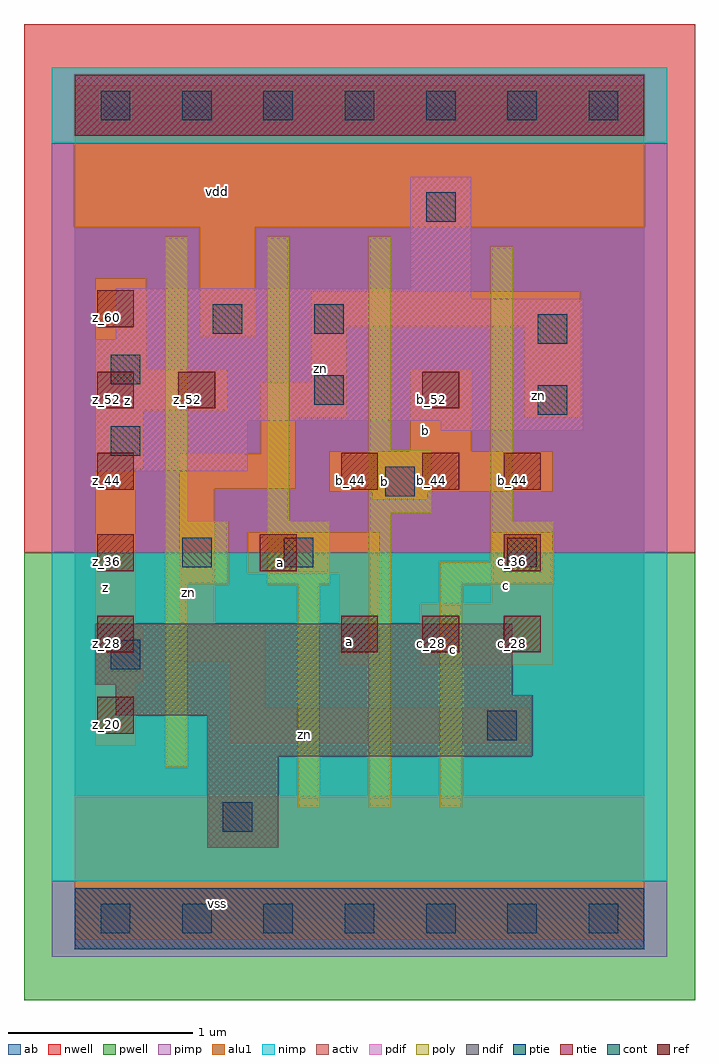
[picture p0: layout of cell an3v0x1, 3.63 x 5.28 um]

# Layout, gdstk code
import gdstk
lib = gdstk.Library(unit=1e-6, precision=2.5e-09)
def R(c, l, rs):  # rectangles x0, y0, x1, y1
    for r in rs: c.add(gdstk.rectangle(r[:2], r[2:], *l))
def A(c, l, x, y, w, h, nx, ny, dx, dy):  # array of equal rectangles
    R(c, l, [(x+i*dx, y+j*dy, x+i*dx+w, y+j*dy+h) for i in range(nx) for j in range(ny)])
ndif = (3, 0)
pdif = (4, 0)
ntie = (5, 0)
ptie = (6, 0)
ref = (24, 0)
cont = (25, 0)
pwell = (41, 0)
nwell = (42, 0)
activ = (43, 0)
pimp = (44, 0)
nimp = (45, 0)
poly = (46, 0)
alu1 = (49, 0)
ab = (63, 0)

an3v0x1 = lib.new_cell('an3v0x1')
R(an3v0x1, ndif, [(0.715,0.385,1.1,0.88), (0.715,0.88,2.475,1.1), (0.22,1.1,2.475,1.21), (0.22,1.21,2.365,1.265), (0.11,1.265,2.365,1.595)])
R(an3v0x1, pdif, [(0.11,2.42,0.935,2.695), (1.98,2.64,2.75,2.695), (0.11,2.695,2.75,3.135), (0.22,3.135,2.75,3.355), (0.22,3.355,2.145,3.41), (1.815,3.41,2.145,4.015)])
R(an3v0x1, ntie, [(0,4.235,3.08,4.565)])
R(an3v0x1, ptie, [(0,-0.165,3.08,0.165)])
A(an3v0x1, ref, 0.12, 1, 0.2, 0.2, 1, 6, 0, 0.44)
A(an3v0x1, ref, 1.44, 1.44, 0.2, 0.2, 3, 2, 0.44, 0.88)
R(an3v0x1, ref, [(1,1.88,1.2,2.08), (2.32,1.88,2.52,2.08), (0.56,2.76,0.76,2.96), (1.88,2.76,2.08,2.96)])
A(an3v0x1, cont, 0.14, -0.08, 0.16, 0.16, 7, 2, 0.44, 4.4)
R(an3v0x1, cont, [(0.8,0.47,0.96,0.63), (2.23,0.965,2.39,1.125), (0.195,1.35,0.355,1.51), (0.58,1.9,0.74,2.06), (1.13,1.9,1.29,2.06), (2.34,1.9,2.5,2.06), (1.68,2.285,1.84,2.445), (0.195,2.505,0.355,2.665), (2.505,2.725,2.665,2.885), (1.295,2.78,1.455,2.94), (0.195,2.89,0.355,3.05), (2.505,3.11,2.665,3.27), (0.745,3.165,0.905,3.325), (1.295,3.165,1.455,3.325), (1.9,3.77,2.06,3.93)])
R(an3v0x1, pwell, [(-0.275,-0.44,3.355,1.98)])
R(an3v0x1, nwell, [(-0.275,1.98,3.355,4.84)])
R(an3v0x1, activ, [(0,-0.165,3.08,0.165), (0.715,0.385,1.1,0.88), (0.715,0.88,2.475,1.1), (0.22,1.1,2.475,1.21), (0.22,1.21,2.365,1.265), (0.11,1.265,2.365,1.595), (0.11,2.42,0.935,2.695), (1.98,2.64,2.75,2.695), (0.11,2.695,2.75,3.135), (0.22,3.135,2.75,3.355), (0.22,3.355,2.145,3.41), (1.815,3.41,2.145,4.015), (0,4.235,3.08,4.565)])
R(an3v0x1, pimp, [(-0.125,-0.205,3.205,0.205), (-0.125,1.98,3.205,4.195)])
R(an3v0x1, nimp, [(-0.125,0.205,3.205,1.98), (-0.125,4.195,3.205,4.605)])
R(an3v0x1, poly, [(1.205,0.6,1.325,1.81), (1.59,0.6,1.71,2.195), (1.975,0.6,2.095,1.81), (0.49,0.82,0.61,1.81), (0.49,1.81,0.83,2.15), (1.04,1.81,1.38,2.15), (1.975,1.81,2.59,1.93), (2.25,1.93,2.59,2.15), (0.49,2.15,0.61,3.69), (1.04,2.15,1.16,3.69), (2.25,2.15,2.37,3.635), (1.59,2.195,1.93,2.535), (1.59,2.535,1.71,3.69)])
R(an3v0x1, alu1, [(0,-0.11,3.08,0.66), (0.11,0.935,0.33,1.28), (0.84,0.95,2.46,1.14), (0.84,1.14,1.03,1.39), (0.11,1.28,0.37,1.58), (1.43,1.375,1.65,1.87), (1.87,1.375,2.585,1.705), (0.565,1.39,1.03,1.58), (0.11,1.58,0.33,2.435), (0.565,1.58,0.755,2.325), (2.255,1.705,2.585,2.09), (0.935,1.87,1.65,2.09), (1.61,2.27,1.91,2.31), (1.375,2.31,2.585,2.53), (0.565,2.325,1.195,2.515), (0.11,2.435,0.37,2.75), (1.005,2.515,1.195,2.71), (1.815,2.53,2.145,2.97), (1.005,2.71,1.47,2.9), (2.435,2.71,2.735,3.205), (0.11,2.75,0.825,2.97), (1.28,2.9,1.47,3.205), (0.11,2.97,0.385,3.465), (0.675,3.15,0.975,3.74), (1.28,3.205,2.735,3.395), (0,3.74,3.08,4.51)])
R(an3v0x1, ab, [(0,0,3.08,4.4)])
an3v0x1.add(gdstk.Label('vss', (0.77,0.0825), layer=49, texttype=0))
an3v0x1.add(gdstk.Label('zn', (1.245,0.9975), layer=49, texttype=0))
an3v0x1.add(gdstk.Label('c', (2.0475,1.4575), layer=49, texttype=0))
an3v0x1.add(gdstk.Label('c', (2.3375,1.8), layer=49, texttype=0))
an3v0x1.add(gdstk.Label('a', (1.485,1.4975), layer=49, texttype=0))
an3v0x1.add(gdstk.Label('a', (1.1125,1.925), layer=49, texttype=0))
an3v0x1.add(gdstk.Label('b', (1.6775,2.365), layer=49, texttype=0))
an3v0x1.add(gdstk.Label('zn', (0.6125,1.765), layer=49, texttype=0))
an3v0x1.add(gdstk.Label('z', (0.165,1.7925), layer=49, texttype=0))
an3v0x1.add(gdstk.Label('zn', (2.51,2.8325), layer=49, texttype=0))
an3v0x1.add(gdstk.Label('b', (1.8975,2.64), layer=49, texttype=0))
an3v0x1.add(gdstk.Label('zn', (1.3275,2.975), layer=49, texttype=0))
an3v0x1.add(gdstk.Label('z', (0.2875,2.805), layer=49, texttype=0))
an3v0x1.add(gdstk.Label('vdd', (0.77,3.9325), layer=49, texttype=0))
an3v0x1.add(gdstk.Label('z_52', (0.61,2.81), layer=24, texttype=0))
an3v0x1.add(gdstk.Label('a_36', (1.05,1.93), layer=24, texttype=0))
an3v0x1.add(gdstk.Label('a_28', (1.49,1.49), layer=24, texttype=0))
an3v0x1.add(gdstk.Label('b_44', (1.49,2.37), layer=24, texttype=0))
an3v0x1.add(gdstk.Label('c_28', (1.93,1.49), layer=24, texttype=0))
an3v0x1.add(gdstk.Label('b_44', (1.93,2.37), layer=24, texttype=0))
an3v0x1.add(gdstk.Label('b_52', (1.93,2.81), layer=24, texttype=0))
an3v0x1.add(gdstk.Label('z_20', (0.17,1.05), layer=24, texttype=0))
an3v0x1.add(gdstk.Label('z_28', (0.17,1.49), layer=24, texttype=0))
an3v0x1.add(gdstk.Label('z_36', (0.17,1.93), layer=24, texttype=0))
an3v0x1.add(gdstk.Label('z_44', (0.17,2.37), layer=24, texttype=0))
an3v0x1.add(gdstk.Label('z_52', (0.17,2.81), layer=24, texttype=0))
an3v0x1.add(gdstk.Label('z_60', (0.17,3.25), layer=24, texttype=0))
an3v0x1.add(gdstk.Label('c_28', (2.37,1.49), layer=24, texttype=0))
an3v0x1.add(gdstk.Label('c_36', (2.37,1.93), layer=24, texttype=0))
an3v0x1.add(gdstk.Label('b_44', (2.37,2.37), layer=24, texttype=0))

lib.write_gds('an3v0x1.gds')
